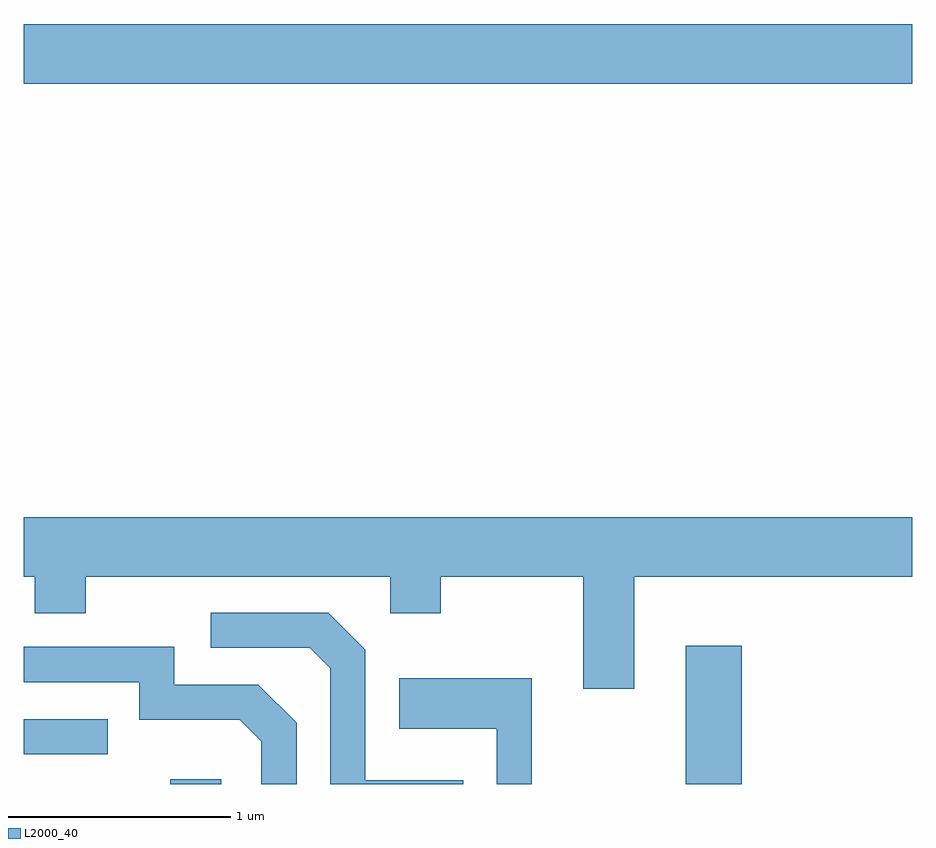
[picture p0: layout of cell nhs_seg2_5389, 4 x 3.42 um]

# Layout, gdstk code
import gdstk
lib = gdstk.Library(unit=1e-6, precision=1e-09)
def R(c, l, rs):  # rectangles x0, y0, x1, y1
    for r in rs: c.add(gdstk.rectangle(r[:2], r[2:], *l))
def P(c, l, *ps):  # polygons
    for p in ps: c.add(gdstk.Polygon(p, *l))
L2000_40 = (2000, 40)

nhs_seg2_5389 = lib.new_cell('nhs_seg2_5389')
R(nhs_seg2_5389, L2000_40, [(344.271,1071.802,344.499,1071.824), (346.591,1071.802,346.844,1072.424), (343.611,1071.936,343.988,1072.094), (343.611,1074.956,347.611,1075.224)])
P(nhs_seg2_5389, L2000_40, [(346.359,1072.736),(347.611,1072.736),(347.611,1073.004),(343.611,1073.004),(343.611,1072.736),(343.661,1072.736),(343.661,1072.571),(343.889,1072.571),(343.889,1072.736),(345.261,1072.736),(345.261,1072.571),(345.489,1072.571),(345.489,1072.736),(346.131,1072.736),(346.131,1072.231),(346.359,1072.231)],
  [(345.589,1071.819),(345.149,1071.819),(345.149,1072.407),(344.982,1072.574),(344.453,1072.574),(344.453,1072.416),(344.899,1072.416),(344.991,1072.324),(344.991,1071.802),(345.589,1071.802)],
  [(344.839,1072.077),(344.667,1072.249),(344.289,1072.249),(344.289,1072.419),(343.611,1072.419),(343.611,1072.261),(344.131,1072.261),(344.131,1072.091),(344.584,1072.091),(344.681,1071.994),(344.681,1071.802),(344.839,1071.802)],
  [(345.899,1072.279),(345.301,1072.279),(345.301,1072.051),(345.741,1072.051),(345.741,1071.802),(345.899,1071.802)])

lib.write_gds('nhs_seg2_5389.gds')
